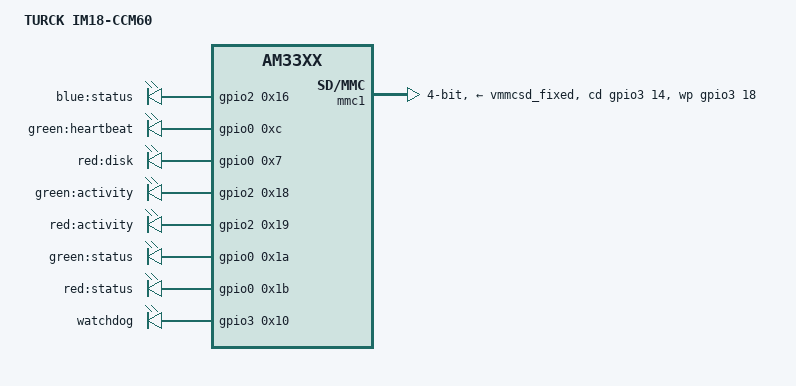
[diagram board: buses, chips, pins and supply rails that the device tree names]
// SPDX-License-Identifier: GPL-2.0-only
/*
 * Copyright 2022 in.hub GmbH
 */

/dts-v1/;

#include "am335x-inhub-hub-gm100.dts"

/ {
	model = "TURCK IM18-CCM60";
	compatible = "ti,am335x-duoSol-I-xCom1", "turck,im18-ccm60", "ti,am33xx";
	/delete-node/ leds;

	aliases {
		mmc0 = &mmc2;
		mmc1 = &mmc1;
	};

	st_tof {
		compatible = "st,tof";
	};

	leds {
		compatible = "gpio-leds";

		led_blue_status: blue-status {
			label = "blue:status";
			gpios = <&gpio2 0x16 0x0>;
			default-state = "off";
			linux,default-trigger = "mmc0";
		};

		led_green_heartbeat: green-heartbeat {
			label = "green:heartbeat";
			gpios = <&gpio0 0xc 0x0>;
			linux,default-trigger = "timer";
		};

		led_red_disk: red-disk {
			label = "red:disk";
			gpios = <&gpio0 0x7 0x0>;
			default-state = "off";
		};

		led_green_activity: green-activity {
			label = "green:activity";
			gpios = <&gpio2 0x18 0x0>;
			default-state = "off";
		};

		led_red_activity: red-activity {
			label = "red:activity";
			gpios = <&gpio2 0x19 0x0>;
			default-state = "off";
		};

		led_green_status: green-status {
			label = "green:status";
			gpios = <&gpio0 0x1a 0x0>;
			default-state = "off";
		};

		led_red_status: red-status {
			label = "red:status";
			gpios = <&gpio0 0x1b 0x0>;
			default-state = "off";
		};

		watchdog {
			label = "watchdog";
			gpios = <&gpio3 0x10 0x0>;
			linux,default-trigger = "heartbeat";
			default-state = "off";
		};
	};
};

&am33xx_pinmux {
	sd_pins: pinmux_sd_card {
		pinctrl-single,pins = <
			AM33XX_PADCONF(AM335X_PIN_MMC0_CLK, PIN_INPUT, MUX_MODE0)
			AM33XX_PADCONF(AM335X_PIN_MMC0_CMD, PIN_INPUT, MUX_MODE0)
			AM33XX_PADCONF(AM335X_PIN_MMC0_DAT0, PIN_INPUT, MUX_MODE0)
			AM33XX_PADCONF(AM335X_PIN_MMC0_DAT1, PIN_INPUT, MUX_MODE0)
			AM33XX_PADCONF(AM335X_PIN_MMC0_DAT2, PIN_INPUT, MUX_MODE0)
			AM33XX_PADCONF(AM335X_PIN_MMC0_DAT3, PIN_INPUT, MUX_MODE0)
			AM33XX_PADCONF(AM335X_PIN_MCASP0_ACLKX, PIN_INPUT, MUX_MODE7)	/* mcasp0_aclkx.gpio3_14 */
			AM33XX_PADCONF(AM335X_PIN_MCASP0_ACLKR, PIN_INPUT, MUX_MODE7)	/* mcasp0_aclkx.gpio3_18 */
			AM33XX_PADCONF(AM335X_PIN_RMII1_REF_CLK, PIN_INPUT, MUX_MODE7)	/* rmii2_refclk.gpio0_29 */
		>;
	};
};

&mmc1 {
	status = "okay";
	bus-width = <4>;
	pinctrl-names = "default";
	pinctrl-0 = <&sd_pins>;
	vmmc-supply = <&vmmcsd_fixed>;
	cd-gpios = <&gpio3 14 GPIO_ACTIVE_HIGH>;
	wp-gpios = <&gpio3 18 GPIO_ACTIVE_HIGH>;
};
